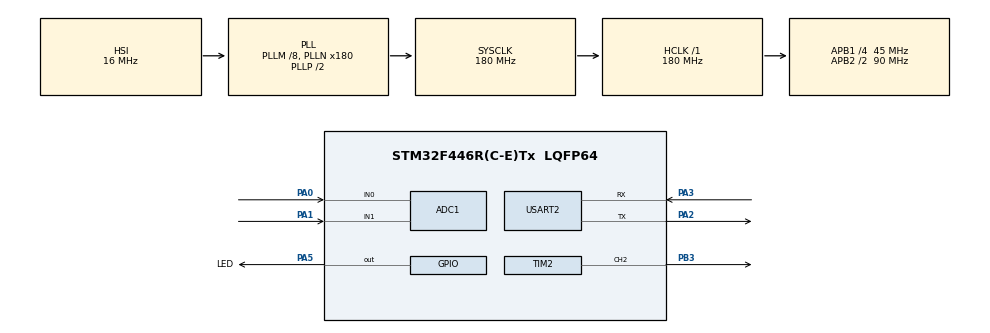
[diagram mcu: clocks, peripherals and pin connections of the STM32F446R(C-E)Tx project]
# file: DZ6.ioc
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ADC1.Channel-0\#ChannelRegularConversion=ADC_CHANNEL_0
ADC1.Channel-1\#ChannelRegularConversion=ADC_CHANNEL_1
ADC1.ContinuousConvMode=DISABLE
ADC1.DiscontinuousConvMode=ENABLE
ADC1.ExternalTrigConv=ADC_EXTERNALTRIGCONV_T2_CC2
ADC1.NbrOfConversion=2
ADC1.NbrOfConversionFlag=1
ADC1.Rank-0\#ChannelRegularConversion=1
ADC1.Rank-1\#ChannelRegularConversion=2
ADC1.SamplingTime-0\#ChannelRegularConversion=ADC_SAMPLETIME_3CYCLES
ADC1.SamplingTime-1\#ChannelRegularConversion=ADC_SAMPLETIME_3CYCLES
ADC1.ScanConvMode=ENABLE
ADC1.master=1
Mcu.Family=STM32F4
Mcu.Name=STM32F446R(C-E)Tx
Mcu.Package=LQFP64
NVIC.ADC_IRQn=true\:0\:0\:false\:false\:true\:true\:true\:true
NVIC.PriorityGroup=NVIC_PRIORITYGROUP_4
NVIC.TIM1_UP_TIM10_IRQn=true\:0\:0\:false\:false\:true\:true\:true\:true
PA0-WKUP.Signal=ADCx_IN0
PA1.Signal=ADCx_IN1
PA13.Mode=Serial_Wire
PA13.Signal=SYS_JTMS-SWDIO
PA14.Mode=Serial_Wire
PA14.Signal=SYS_JTCK-SWCLK
PA2.Mode=Asynchronous
PA2.Signal=USART2_TX
PA3.Mode=Asynchronous
PA3.Signal=USART2_RX
PA5.GPIO_Label=LED
PA5.Signal=GPIO_Output
PB3.Signal=S_TIM2_CH2
ProjectManager.HeapSize=0x200
ProjectManager.StackSize=0x400
ProjectManager.TargetToolchain=STM32CubeIDE
RCC.AHBFreq_Value=180000000
RCC.APB1CLKDivider=RCC_HCLK_DIV4
RCC.APB1Freq_Value=45000000
RCC.APB1TimFreq_Value=90000000
RCC.APB2CLKDivider=RCC_HCLK_DIV2
RCC.APB2Freq_Value=90000000
RCC.APB2TimFreq_Value=180000000
RCC.CortexFreq_Value=180000000
RCC.HCLKFreq_Value=180000000
RCC.PLLM=8
RCC.PLLN=180
RCC.SYSCLKFreq_VALUE=180000000
RCC.SYSCLKSource=RCC_SYSCLKSOURCE_PLLCLK
RCC.USBFreq_Value=180000000
RCC.VCOOutputFreq_Value=360000000
SH.ADCx_IN0.0=ADC1_IN0,IN0
SH.ADCx_IN1.0=ADC1_IN1,IN1
SH.S_TIM2_CH2.0=TIM2_CH2,Output Compare2 CH2
TIM1.Period=14999
TIM1.Prescaler=2999
TIM2.Channel-Output\ Compare2\ CH2=TIM_CHANNEL_2
TIM2.OCMode_2=TIM_OCMODE_TOGGLE
TIM2.Period=14999
TIM2.Prescaler=599
TIM2.Pulse-Output\ Compare2\ CH2=0
USART2.VirtualMode=VM_ASYNC
VP_TIM1_VS_ClockSourceINT.Mode=Internal
VP_TIM2_VS_ClockSourceINT.Mode=Internal
board=custom

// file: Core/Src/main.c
/* USER CODE BEGIN Header */
/**
  ******************************************************************************
  * @file           : main.c
  * @brief          : Main program body
  ******************************************************************************
  * @attention
  *
  * Copyright (c) 2026 STMicroelectronics.
  * All rights reserved.
  *
  * This software is licensed under terms that can be found in the LICENSE file
  * in the root directory of this software component.
  * If no LICENSE file comes with this software, it is provided AS-IS.
  *
  ******************************************************************************
  */
/* USER CODE END Header */
#include "main.h"

ADC_HandleTypeDef hadc1;

TIM_HandleTypeDef htim1;
TIM_HandleTypeDef htim2;

UART_HandleTypeDef huart2;

void SystemClock_Config(void);
static void MX_GPIO_Init(void);
static void MX_ADC1_Init(void);
static void MX_TIM2_Init(void);
static void MX_TIM1_Init(void);
static void MX_USART2_UART_Init(void);

/* USER CODE BEGIN 0 */
volatile uint16_t lum = 0;
volatile uint16_t th = 0;
volatile uint8_t queue = 0;
uint8_t ledState = 0;
/* USER CODE END 0 */

int main(void)
{

  /* MCU Configuration--------------------------------------------------------*/

  /* Reset of all peripherals, Initializes the Flash interface and the Systick. */
  HAL_Init();

  /* Configure the system clock */
  SystemClock_Config();

  /* Initialize all configured peripherals */
  MX_GPIO_Init();
  MX_ADC1_Init();
  MX_TIM2_Init();
  MX_TIM1_Init();
  MX_USART2_UART_Init();
  /* USER CODE BEGIN 2 */
  HAL_ADC_Start_IT(&hadc1);
  HAL_TIM_OC_Start(&htim2, TIM_CHANNEL_2);
  HAL_TIM_Base_Start_IT(&htim1);
  /* USER CODE END 2 */

  /* Infinite loop */
  /* USER CODE BEGIN WHILE */
  while (1)
  {
	 ledState = HAL_GPIO_ReadPin(LED_GPIO_Port, LED_Pin);

	 if (lum > 1.1 * th && !ledState)
		 HAL_GPIO_WritePin(LED_GPIO_Port, LED_Pin, GPIO_PIN_SET);

	 if (lum < 0.9 * th && ledState)
	 		 HAL_GPIO_WritePin(LED_GPIO_Port, LED_Pin, GPIO_PIN_RESET);
    /* USER CODE END WHILE */

  }
}

void SystemClock_Config(void)
{
  RCC_OscInitTypeDef RCC_OscInitStruct = {0};
  RCC_ClkInitTypeDef RCC_ClkInitStruct = {0};

  /** Configure the main internal regulator output voltage
  */
  __HAL_RCC_PWR_CLK_ENABLE();
  __HAL_PWR_VOLTAGESCALING_CONFIG(PWR_REGULATOR_VOLTAGE_SCALE1);

  /** Initializes the RCC Oscillators according to the specified parameters
  * in the RCC_OscInitTypeDef structure.
  */
  RCC_OscInitStruct.OscillatorType = RCC_OSCILLATORTYPE_HSI;
  RCC_OscInitStruct.HSIState = RCC_HSI_ON;
  RCC_OscInitStruct.HSICalibrationValue = RCC_HSICALIBRATION_DEFAULT;
  RCC_OscInitStruct.PLL.PLLState = RCC_PLL_ON;
  RCC_OscInitStruct.PLL.PLLSource = RCC_PLLSOURCE_HSI;
  RCC_OscInitStruct.PLL.PLLM = 8;
  RCC_OscInitStruct.PLL.PLLN = 180;
  RCC_OscInitStruct.PLL.PLLP = RCC_PLLP_DIV2;
  RCC_OscInitStruct.PLL.PLLQ = 2;
  RCC_OscInitStruct.PLL.PLLR = 2;
  if (HAL_RCC_OscConfig(&RCC_OscInitStruct) != HAL_OK)
  {
    Error_Handler();
  }

  /** Activate the Over-Drive mode
  */
  if (HAL_PWREx_EnableOverDrive() != HAL_OK)
  {
    Error_Handler();
  }

  /** Initializes the CPU, AHB and APB buses clocks
  */
  RCC_ClkInitStruct.ClockType = RCC_CLOCKTYPE_HCLK|RCC_CLOCKTYPE_SYSCLK
                              |RCC_CLOCKTYPE_PCLK1|RCC_CLOCKTYPE_PCLK2;
  RCC_ClkInitStruct.SYSCLKSource = RCC_SYSCLKSOURCE_PLLCLK;
  RCC_ClkInitStruct.AHBCLKDivider = RCC_SYSCLK_DIV1;
  RCC_ClkInitStruct.APB1CLKDivider = RCC_HCLK_DIV4;
  RCC_ClkInitStruct.APB2CLKDivider = RCC_HCLK_DIV2;

  if (HAL_RCC_ClockConfig(&RCC_ClkInitStruct, FLASH_LATENCY_5) != HAL_OK)
  {
    Error_Handler();
  }
}

static void MX_ADC1_Init(void)
{

  ADC_ChannelConfTypeDef sConfig = {0};

  /** Configure the global features of the ADC (Clock, Resolution, Data Alignment and number of conversion)
  */
  hadc1.Instance = ADC1;
  hadc1.Init.ClockPrescaler = ADC_CLOCK_SYNC_PCLK_DIV4;
  hadc1.Init.Resolution = ADC_RESOLUTION_12B;
  hadc1.Init.ScanConvMode = ENABLE;
  hadc1.Init.ContinuousConvMode = DISABLE;
  hadc1.Init.DiscontinuousConvMode = ENABLE;
  hadc1.Init.NbrOfDiscConversion = 1;
  hadc1.Init.ExternalTrigConvEdge = ADC_EXTERNALTRIGCONVEDGE_RISING;
  hadc1.Init.ExternalTrigConv = ADC_EXTERNALTRIGCONV_T2_CC2;
  hadc1.Init.DataAlign = ADC_DATAALIGN_RIGHT;
  hadc1.Init.NbrOfConversion = 2;
  hadc1.Init.DMAContinuousRequests = DISABLE;
  hadc1.Init.EOCSelection = ADC_EOC_SINGLE_CONV;
  if (HAL_ADC_Init(&hadc1) != HAL_OK)
  {
    Error_Handler();
  }

  /** Configure for the selected ADC regular channel its corresponding rank in the sequencer and its sample time.
  */
  sConfig.Channel = ADC_CHANNEL_0;
  sConfig.Rank = 1;
  sConfig.SamplingTime = ADC_SAMPLETIME_3CYCLES;
  if (HAL_ADC_ConfigChannel(&hadc1, &sConfig) != HAL_OK)
  {
    Error_Handler();
  }

  /** Configure for the selected ADC regular channel its corresponding rank in the sequencer and its sample time.
  */
  sConfig.Channel = ADC_CHANNEL_1;
  sConfig.Rank = 2;
  if (HAL_ADC_ConfigChannel(&hadc1, &sConfig) != HAL_OK)
  {
    Error_Handler();
  }

}

static void MX_TIM1_Init(void)
{

  TIM_ClockConfigTypeDef sClockSourceConfig = {0};
  TIM_MasterConfigTypeDef sMasterConfig = {0};

  htim1.Instance = TIM1;
  htim1.Init.Prescaler = 2999;
  htim1.Init.CounterMode = TIM_COUNTERMODE_UP;
  htim1.Init.Period = 14999;
  htim1.Init.ClockDivision = TIM_CLOCKDIVISION_DIV1;
  htim1.Init.RepetitionCounter = 0;
  htim1.Init.AutoReloadPreload = TIM_AUTORELOAD_PRELOAD_DISABLE;
  if (HAL_TIM_Base_Init(&htim1) != HAL_OK)
  {
    Error_Handler();
  }
  sClockSourceConfig.ClockSource = TIM_CLOCKSOURCE_INTERNAL;
  if (HAL_TIM_ConfigClockSource(&htim1, &sClockSourceConfig) != HAL_OK)
  {
    Error_Handler();
  }
  sMasterConfig.MasterOutputTrigger = TIM_TRGO_RESET;
  sMasterConfig.MasterSlaveMode = TIM_MASTERSLAVEMODE_DISABLE;
  if (HAL_TIMEx_MasterConfigSynchronization(&htim1, &sMasterConfig) != HAL_OK)
  {
    Error_Handler();
  }

}

static void MX_TIM2_Init(void)
{

  TIM_ClockConfigTypeDef sClockSourceConfig = {0};
  TIM_MasterConfigTypeDef sMasterConfig = {0};
  TIM_OC_InitTypeDef sConfigOC = {0};

  htim2.Instance = TIM2;
  htim2.Init.Prescaler = 599;
  htim2.Init.CounterMode = TIM_COUNTERMODE_UP;
  htim2.Init.Period = 14999;
  htim2.Init.ClockDivision = TIM_CLOCKDIVISION_DIV1;
  htim2.Init.AutoReloadPreload = TIM_AUTORELOAD_PRELOAD_DISABLE;
  if (HAL_TIM_Base_Init(&htim2) != HAL_OK)
  {
    Error_Handler();
  }
  sClockSourceConfig.ClockSource = TIM_CLOCKSOURCE_INTERNAL;
  if (HAL_TIM_ConfigClockSource(&htim2, &sClockSourceConfig) != HAL_OK)
  {
    Error_Handler();
  }
  if (HAL_TIM_OC_Init(&htim2) != HAL_OK)
  {
    Error_Handler();
  }
  sMasterConfig.MasterOutputTrigger = TIM_TRGO_RESET;
  sMasterConfig.MasterSlaveMode = TIM_MASTERSLAVEMODE_DISABLE;
  if (HAL_TIMEx_MasterConfigSynchronization(&htim2, &sMasterConfig) != HAL_OK)
  {
    Error_Handler();
  }
  sConfigOC.OCMode = TIM_OCMODE_TOGGLE;
  sConfigOC.Pulse = 0;
  sConfigOC.OCPolarity = TIM_OCPOLARITY_HIGH;
  sConfigOC.OCFastMode = TIM_OCFAST_DISABLE;
  if (HAL_TIM_OC_ConfigChannel(&htim2, &sConfigOC, TIM_CHANNEL_2) != HAL_OK)
  {
    Error_Handler();
  }
  HAL_TIM_MspPostInit(&htim2);

}

static void MX_USART2_UART_Init(void)
{

  huart2.Instance = USART2;
  huart2.Init.BaudRate = 115200;
  huart2.Init.WordLength = UART_WORDLENGTH_8B;
  huart2.Init.StopBits = UART_STOPBITS_1;
  huart2.Init.Parity = UART_PARITY_NONE;
  huart2.Init.Mode = UART_MODE_TX_RX;
  huart2.Init.HwFlowCtl = UART_HWCONTROL_NONE;
  huart2.Init.OverSampling = UART_OVERSAMPLING_16;
  if (HAL_UART_Init(&huart2) != HAL_OK)
  {
    Error_Handler();
  }

}

static void MX_GPIO_Init(void)
{
  GPIO_InitTypeDef GPIO_InitStruct = {0};

  /* GPIO Ports Clock Enable */
  __HAL_RCC_GPIOA_CLK_ENABLE();
  __HAL_RCC_GPIOB_CLK_ENABLE();

  /*Configure GPIO pin Output Level */
  HAL_GPIO_WritePin(LED_GPIO_Port, LED_Pin, GPIO_PIN_RESET);

  /*Configure GPIO pin : LED_Pin */
  GPIO_InitStruct.Pin = LED_Pin;
  GPIO_InitStruct.Mode = GPIO_MODE_OUTPUT_PP;
  GPIO_InitStruct.Pull = GPIO_NOPULL;
  GPIO_InitStruct.Speed = GPIO_SPEED_FREQ_LOW;
  HAL_GPIO_Init(LED_GPIO_Port, &GPIO_InitStruct);

}

/* USER CODE BEGIN 4 */
void HAL_ADC_ConvCpltCallback(ADC_HandleTypeDef *hadc)
{
  if(hadc->Instance == ADC1)
  {
      if (queue) th = HAL_ADC_GetValue(hadc);
      else lum = HAL_ADC_GetValue(hadc);

      queue ^= 1;
      HAL_ADC_Start_IT(hadc);
  }
}

void HAL_TIM_PeriodElapsedCallback(TIM_HandleTypeDef *htim)
{
	if (htim->Instance == TIM1)
	{
		char str [32] = {0};
		snprintf(str, sizeof(str), "%u %u %u %u\n", lum, (uint16_t) (1.1*th), (uint16_t) (0.9*th), ledState*100);
		HAL_UART_Transmit(&huart2, (uint8_t*)str, strlen(str), HAL_MAX_DELAY);
	}
}
/* USER CODE END 4 */

void Error_Handler(void)
{
  __disable_irq();
  while (1)
  {
  }
}
